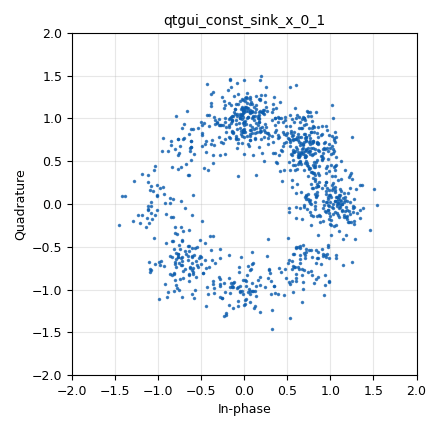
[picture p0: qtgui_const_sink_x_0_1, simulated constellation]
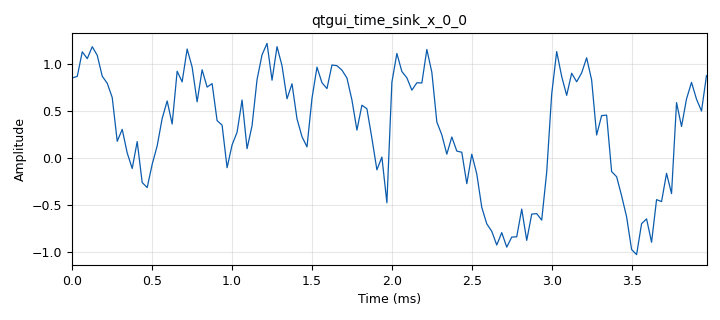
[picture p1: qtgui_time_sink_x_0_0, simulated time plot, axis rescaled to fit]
options:
  parameters:
    author: mike
    generate_options: qt_gui
    id: ochoPSK_lab4
    output_language: python
    title: Not titled yet
  states: {}

blocks:
- name: const_2
  id: variable_constellation
  parameters:
    precision: '8'
    type: 8psk
  states: {}
- name: noise_volt
  id: variable_qtgui_range
  parameters:
    comment: 0,0,1,1
    gui_hint: 0,0,1,1
    label: 'Channel: Noise Voltage'
    start: '0'
    step: '0.01'
    stop: '1'
    value: '0.01'
  states: {}
- name: ocho_PSK
  id: variable
  parameters:
    value: '[1+0j, 0.707+0.707j, 0+1j, -0.707+0.707j, -1+0j, -0.707-0.707j, 0-1j, 0.707-0.707j]'
  states: {}
- name: samp_rate
  id: variable
  parameters:
    value: '32000'
  states: {}
- name: samp_rate_0
  id: variable
  parameters:
    value: '32000'
  states: {}
- name: analog_noise_source_x_0_1
  id: analog_noise_source_x
  parameters:
    amp: '0.282'
    noise_type: analog.GR_GAUSSIAN
    seed: '0'
    type: complex
  states: {}
- name: analog_random_source_x_0_1
  id: analog_random_source_x
  parameters:
    max: '8'
    min: '0'
    num_samps: '32000'
    repeat: 'True'
    type: byte
  states: {}
- name: analog_sig_source_x_0
  id: analog_sig_source_x
  parameters:
    amp: '1'
    freq: '1000'
    offset: '0'
    phase: '0'
    samp_rate: samp_rate
    type: float
    waveform: analog.GR_SIN_WAVE
  states: {}
- name: analog_sig_source_x_0_0
  id: analog_sig_source_x
  parameters:
    amp: '1'
    freq: '1000'
    offset: '0'
    phase: '0'
    samp_rate: samp_rate
    type: float
    waveform: analog.GR_COS_WAVE
  states: {}
- name: blocks_add_xx_0_1
  id: blocks_add_xx
  parameters:
    type: complex
  states: {}
- name: blocks_add_xx_1
  id: blocks_add_xx
  parameters:
    type: float
  states: {}
- name: blocks_complex_to_float_0
  id: blocks_complex_to_float
  parameters: {}
  states: {}
- name: blocks_multiply_xx_0
  id: blocks_multiply_xx
  parameters:
    type: float
  states: {}
- name: blocks_multiply_xx_0_0
  id: blocks_multiply_xx
  parameters:
    type: float
  states: {}
- name: blocks_repeat_0
  id: blocks_repeat
  parameters:
    interp: '16'
    type: byte
  states: {}
- name: blocks_throttle2_0_1
  id: blocks_throttle2
  parameters:
    samples_per_second: samp_rate
    type: complex
  states: {}
- name: digital_chunks_to_symbols_xx_0_1
  id: digital_chunks_to_symbols_xx
  parameters:
    dimension: '1'
    in_type: byte
    out_type: complex
    symbol_table: ocho_PSK
  states: {}
- name: digital_constellation_decoder_cb_0_1
  id: digital_constellation_decoder_cb
  parameters:
    constellation: const_2
  states: {}
- name: fec_ber_bf_0
  id: fec_ber_bf
  parameters:
    alias: BER
    berminerrors: '1000'
    test_mode: 'False'
  states: {}
- name: qtgui_const_sink_x_0_1
  id: qtgui_const_sink_x
  parameters:
    size: '1024'
    type: complex
  states: {}
- name: qtgui_number_sink_0
  id: qtgui_number_sink
  parameters:
    graph_type: qtgui.NUM_GRAPH_VERT
    type: float
  states: {}
- name: qtgui_number_sink_0_1
  id: qtgui_number_sink
  parameters:
    graph_type: qtgui.NUM_GRAPH_HORIZ
    type: byte
  states: {}
- name: qtgui_time_sink_x_0_0
  id: qtgui_time_sink_x
  parameters:
    size: '128'
    srate: samp_rate
    type: float
  states: {}

connections:
- [analog_noise_source_x_0_1, '0', blocks_add_xx_0_1, '1']
- [analog_random_source_x_0_1, '0', blocks_repeat_0, '0']
- [analog_random_source_x_0_1, '0', fec_ber_bf_0, '0']
- [analog_sig_source_x_0, '0', blocks_multiply_xx_0, '1']
- [analog_sig_source_x_0_0, '0', blocks_multiply_xx_0_0, '0']
- [blocks_add_xx_0_1, '0', blocks_complex_to_float_0, '0']
- [blocks_add_xx_0_1, '0', blocks_throttle2_0_1, '0']
- [blocks_add_xx_1, '0', qtgui_time_sink_x_0_0, '0']
- [blocks_complex_to_float_0, '0', blocks_multiply_xx_0_0, '1']
- [blocks_complex_to_float_0, '1', blocks_multiply_xx_0, '0']
- [blocks_multiply_xx_0, '0', blocks_add_xx_1, '1']
- [blocks_multiply_xx_0_0, '0', blocks_add_xx_1, '0']
- [blocks_repeat_0, '0', digital_chunks_to_symbols_xx_0_1, '0']
- [blocks_throttle2_0_1, '0', digital_constellation_decoder_cb_0_1, '0']
- [blocks_throttle2_0_1, '0', qtgui_const_sink_x_0_1, '0']
- [digital_chunks_to_symbols_xx_0_1, '0', blocks_add_xx_0_1, '0']
- [digital_constellation_decoder_cb_0_1, '0', fec_ber_bf_0, '1']
- [digital_constellation_decoder_cb_0_1, '0', qtgui_number_sink_0_1, '0']
- [fec_ber_bf_0, '0', qtgui_number_sink_0, '0']

metadata:
  file_format: 1
  grc_version: 3.10.12.0
